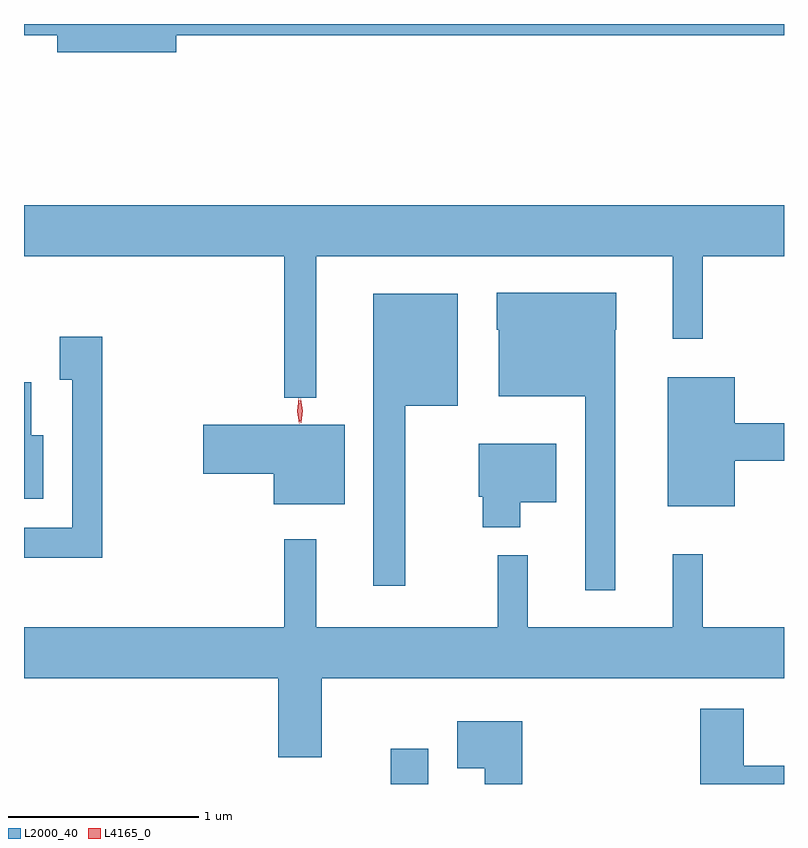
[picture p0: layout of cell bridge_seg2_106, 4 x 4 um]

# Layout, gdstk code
import gdstk
lib = gdstk.Library(unit=1e-6, precision=1e-09)
def R(c, l, rs):  # rectangles x0, y0, x1, y1
    for r in rs: c.add(gdstk.rectangle(r[:2], r[2:], *l))
def P(c, l, *ps):  # polygons
    for p in ps: c.add(gdstk.Polygon(p, *l))
L2000_40 = (2000, 40)
L4165_0 = (4165, 0)

bridge_seg2_106 = lib.new_cell('bridge_seg2_106')
R(bridge_seg2_106, L2000_40, [(884.871,1072.179,885.069,1072.364)])
P(bridge_seg2_106, L2000_40, [(883.744,1076.121),(886.942,1076.121),(886.942,1076.179),(882.942,1076.179),(882.942,1076.121),(883.116,1076.121),(883.116,1076.031),(883.744,1076.031)],
  [(884.479,1074.956),(886.356,1074.956),(886.356,1074.523),(886.514,1074.523),(886.514,1074.956),(886.942,1074.956),(886.942,1075.224),(882.942,1075.224),(882.942,1074.956),(884.311,1074.956),(884.311,1074.213),(884.479,1074.213)],
  [(886.054,1074.57),(886.059,1074.57),(886.059,1074.764),(885.431,1074.764),(885.431,1074.57),(885.441,1074.57),(885.441,1074.221),(885.896,1074.221),(885.896,1073.198),(886.054,1073.198)],
  [(884.949,1074.171),(885.224,1074.171),(885.224,1074.759),(884.781,1074.759),(884.781,1073.223),(884.949,1073.223)],
  [(883.354,1074.534),(883.131,1074.534),(883.131,1074.306),(883.196,1074.306),(883.196,1073.529),(882.942,1073.529),(882.942,1073.371),(883.354,1073.371)],
  [(886.684,1073.881),(886.942,1073.881),(886.942,1074.079),(886.684,1074.079),(886.684,1074.319),(886.331,1074.319),(886.331,1073.641),(886.684,1073.641)],
  [(883.044,1074.014),(882.979,1074.014),(882.979,1074.294),(882.942,1074.294),(882.942,1073.681),(883.044,1073.681)],
  [(884.629,1074.069),(883.886,1074.069),(883.886,1073.811),(884.256,1073.811),(884.256,1073.651),(884.629,1073.651)],
  [(885.554,1073.661),(885.744,1073.661),(885.744,1073.969),(885.336,1073.969),(885.336,1073.691),(885.356,1073.691),(885.356,1073.531),(885.554,1073.531)],
  [(884.509,1072.736),(886.942,1072.736),(886.942,1073.004),(886.514,1073.004),(886.514,1073.388),(886.356,1073.388),(886.356,1073.004),(885.594,1073.004),(885.594,1073.383),(885.436,1073.383),(885.436,1073.004),(884.479,1073.004),(884.479,1073.468),(884.311,1073.468),(884.311,1073.004),(882.942,1073.004),(882.942,1072.736),(884.281,1072.736),(884.281,1072.321),(884.509,1072.321)],
  [(886.942,1072.274),(886.729,1072.274),(886.729,1072.574),(886.501,1072.574),(886.501,1072.179),(886.942,1072.179)],
  [(885.564,1072.509),(885.221,1072.509),(885.221,1072.261),(885.366,1072.261),(885.366,1072.179),(885.564,1072.179)])
P(bridge_seg2_106, L4165_0, [(884.39,1074.074),(884.39,1074.074),(884.379,1074.142),(884.388,1074.21),(884.388,1074.21),(884.389,1074.21),(884.399,1074.142),(884.391,1074.074)],
  [(884.399,1074.08),(884.399,1074.08),(884.389,1074.144),(884.398,1074.206),(884.399,1074.207),(884.399,1074.206),(884.409,1074.144),(884.4,1074.08)])

lib.write_gds('bridge_seg2_106.gds')
